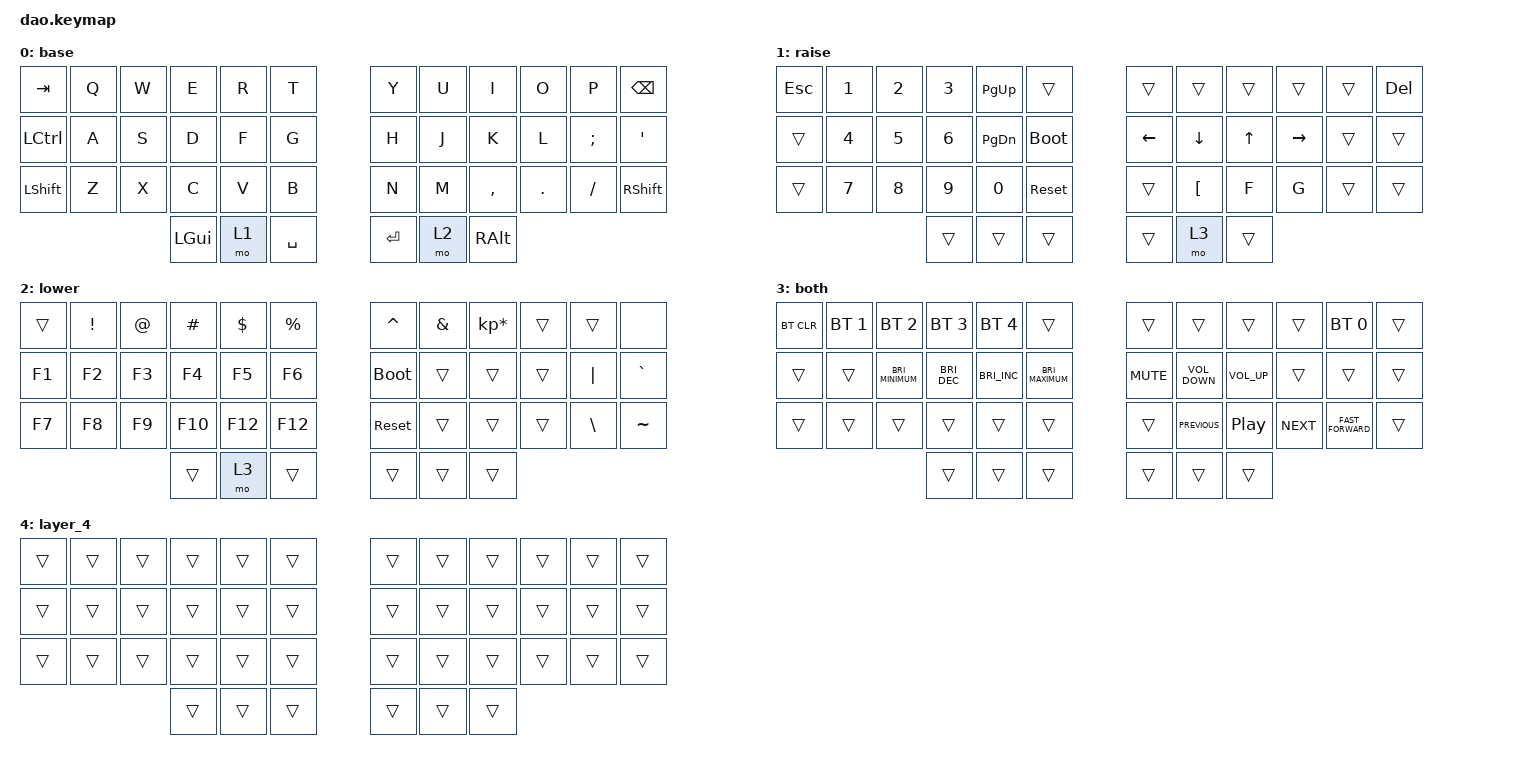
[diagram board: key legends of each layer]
/*
 * Copyright (c) 2020 The ZMK Contributors
 *
 * SPDX-License-Identifier: MIT
 */

#include <behaviors.dtsi>
#include <dt-bindings/zmk/bt.h>
#include <dt-bindings/zmk/keys.h>

// dt-formatter: indent = "  "
// dt-formatter: reindentMultilineIntegerCells = "dedent"

/ {
  behaviors {
    hm: homerow_mods {
      compatible = "zmk,behavior-hold-tap";
      label = "HOMEROW_MODS";
      #binding-cells = <2>;
      tapping-term-ms = <150>;
      quick-tap-ms = <0>;
      flavor = "tap-preferred";
      bindings = <&kp>, <&kp>;
    };
  };

  combos {
    compatible = "zmk,combos";

    closing-square {
      bindings = <&kp RIGHT_BRACKET>;
      key-positions = <19 20>;
    };

    closing-parenthesis {
      bindings = <&kp RIGHT_PARENTHESIS>;
      key-positions = <7 8>;
    };

    closing-brace {
      bindings = <&kp RIGHT_BRACE>;
      key-positions = <31 32>;
    };

    openning-square {
      bindings = <&kp LEFT_BRACKET>;
      key-positions = <16 15>;
    };

    openning-parenthesis {
      bindings = <&kp LEFT_PARENTHESIS>;
      key-positions = <3 4>;
    };

    openning-brace {
      bindings = <&kp LEFT_BRACE>;
      key-positions = <28 27>;
    };

    plus-symbol {
      bindings = <&kp PLUS>;
      key-positions = <20 21>;
    };

    equal-symbol {
      bindings = <&kp EQUAL>;
      key-positions = <32 33>;
    };

    dash-symbol {
      bindings = <&kp MINUS>;
      key-positions = <14 15>;
    };

    underscore-symbol {
      bindings = <&kp UNDERSCORE>;
      key-positions = <26 27>;
    };
  };

  keymap {
    compatible = "zmk,keymap";

    base {
      bindings = <
&kp TAB    &kp Q  &kp W  &kp E     &kp R  &kp T        &kp Y    &kp U  &kp I      &kp O    &kp P          &kp BSPC
&kp LCTRL  &kp A  &kp S  &kp D     &kp F  &kp G        &kp H    &kp J  &kp K      &kp L    &kp SEMICOLON  &kp APOS
&kp LSHFT  &kp Z  &kp X  &kp C     &kp V  &kp B        &kp N    &kp M  &kp COMMA  &kp DOT  &kp FSLH       &kp RSHFT
                         &kp LGUI  &mo 1  &kp SPACE    &kp RET  &mo 2  &kp RALT
      >;
    };

    raise {
      bindings = <
&kp ESCAPE  &kp N1  &kp N2  &kp N3  &kp PG_UP  &trans         &trans    &trans            &trans  &trans     &trans  &kp DEL
&trans      &kp N4  &kp N5  &kp N6  &kp PG_DN  &bootloader    &kp LEFT  &kp DOWN          &kp UP  &kp RIGHT  &trans  &trans
&trans      &kp N7  &kp N8  &kp N9  &kp N0     &sys_reset     &trans    &kp LEFT_BRACKET  &kp F   &kp G      &trans  &trans
                            &trans  &trans     &trans         &trans    &mo 3             &trans
      >;
    };

    lower {
      bindings = <
&trans  &kp EXCL  &kp AT  &kp HASH  &kp DLLR  &kp PRCNT    &kp CARET    &kp AMPS  &kp KP_MULTIPLY  &trans  &trans         &none
&kp F1  &kp F2    &kp F3  &kp F4    &kp F5    &kp F6       &bootloader  &trans    &trans           &trans  &kp PIPE       &kp GRAVE
&kp F7  &kp F8    &kp F9  &kp F10   &kp F12   &kp F12      &sys_reset   &trans    &trans           &trans  &kp BACKSLASH  &kp TILDE
                          &trans    &mo 3     &trans       &trans       &trans    &trans
      >;
    };

    both {
      bindings = <
&bt BT_CLR  &bt BT_SEL 1  &bt BT_SEL 2              &bt BT_SEL 3          &bt BT_SEL 4          &trans                      &trans      &trans             &trans            &trans      &bt BT_SEL 0        &trans
&trans      &trans        &kp C_BRIGHTNESS_MINIMUM  &kp C_BRIGHTNESS_DEC  &kp C_BRIGHTNESS_INC  &kp C_BRIGHTNESS_MAXIMUM    &kp C_MUTE  &kp C_VOLUME_DOWN  &kp C_VOLUME_UP   &trans      &trans              &trans
&trans      &trans        &trans                    &trans                &trans                &trans                      &trans      &kp C_PREVIOUS     &kp C_PLAY_PAUSE  &kp C_NEXT  &kp C_FAST_FORWARD  &trans
                                                    &trans                &trans                &trans                      &trans      &trans             &trans
      >;
    };

    layer_4 {
      bindings = <
&trans  &trans  &trans  &trans  &trans  &trans    &trans  &trans  &trans  &trans  &trans  &trans
&trans  &trans  &trans  &trans  &trans  &trans    &trans  &trans  &trans  &trans  &trans  &trans
&trans  &trans  &trans  &trans  &trans  &trans    &trans  &trans  &trans  &trans  &trans  &trans
                        &trans  &trans  &trans    &trans  &trans  &trans
      >;
    };
  };
};
